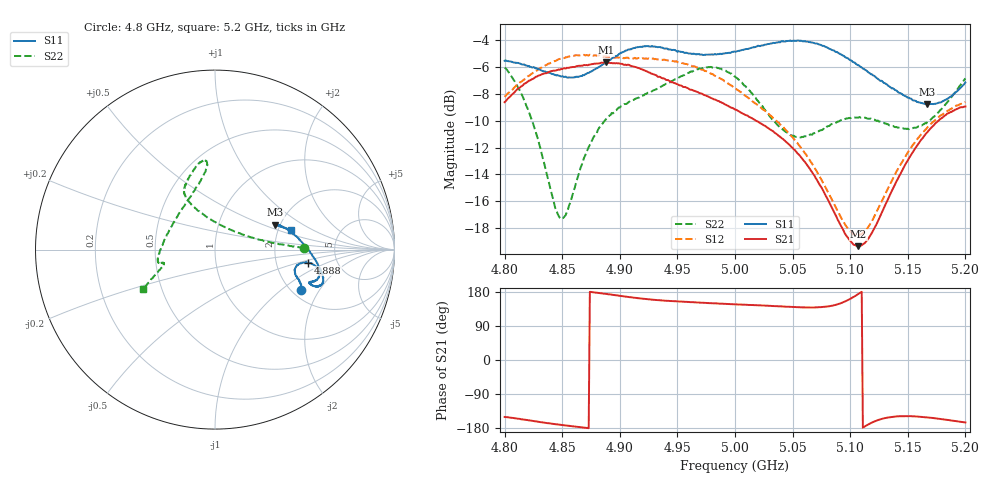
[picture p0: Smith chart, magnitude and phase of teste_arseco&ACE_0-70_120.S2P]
! Network Analyzer HP8722D
! Hewlett-Packard
! Data name: Linha & Wilkinson
! Saver's name: Rodrigo Anjos
! Comments: Teste da utilização de aquisição
! continua pelo VNA HP8722D
! Time and date: 8/5/2025 13:45
!  Frequency  S11  S21  S12  S22
# HZ  S  MA R 50
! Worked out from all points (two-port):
!   401 points, 4.8 GHz to 5.2 GHz, reference 50 ohm
!   highest |S21| = -5.65 dB at 4.888 GHz (marker M1); lowest = -19.3 dB at 5.107 GHz (marker M2)
!   |S21| within 3 dB of the highest: start of sweep to 4.988 GHz
!   lowest |S11| = -8.8 dB at 5.167 GHz (marker M3), VSWR 2.15, Z = 94.4 + j30.3 ohm
!   |S11| at or under -10 dB: nowhere
!   |S22| runs from -17.3 to -6.0 dB; largest |S21 - S12| = 1.1
!   S11 on the Smith chart (normalised r, x): 4.8 GHz: 2.22, -1.40; 4.888 GHz: 3.05, -0.61; 5.2 GHz: 2.35, +0.64
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4.8e9  0.5288 -25.3  0.3708 -150.3  0.3878 9.2  0.4981 1.0
4.821e9  0.5056 -20.7  0.4457 -159.3  0.4646 6.3  0.3409 6.0
4.844e9  0.4675 -16.9  0.4861 -169.4  0.5276 2.7  0.1492 42.0
4.848e9  0.4638 -16.2  0.4897 -170.7  0.5374 1.8  0.1374 58.0
4.855e9  0.4572 -14.5  0.4974 -173.5  0.5477 0.6  0.1478 86.1
4.867e9  0.4639 -11.0  0.507 -177.6  0.5538 -1.1  0.2167 110.6
4.888e9  0.5228 -8.0  0.522 174.3  0.548 -2.2  0.3205 118.9
4.913e9  0.59 -11.6  0.5015 164.3  0.5422 -1.5  0.3808 116.5
4.934e9  0.595 -16.0  0.4613 157.7  0.5359 -2.4  0.4206 111.0
4.975e9  0.5572 -19.3  0.392 150.2  0.4839 -6.2  0.5 97.8
5e9  0.5721 -20.0  0.3482 146.8  0.4197 -6.0  0.462 95.7
5.041e9  0.6243 -18.3  0.2715 141.3  0.3018 1.4  0.2944 127.6
5.054e9  0.6288 -16.3  0.2397 139.4  0.2618 4.6  0.275 146.8
5.067e9  0.6182 -13.8  0.2031 138.5  0.2185 9.0  0.2805 164.8
5.096e9  0.5444 -3.7  0.1191 155.1  0.1289 35.4  0.3217 -171.7
5.107e9  0.5087 1.5  0.1078 174.2  0.1181 56.8  0.3247 -168.2
5.117e9  0.4752 6.7  0.1174 -168.0  0.1295 76.1  0.3218 -166.6
5.134e9  0.4243 14.7  0.1655 -151.0  0.181 94.6  0.3036 -166.0
5.152e9  0.3824 21.0  0.2328 -148.2  0.2478 100.4  0.2956 -164.4
5.167e9  0.3642 22.4  0.2864 -151.4  0.2985 101.3  0.313 -161.5
5.183e9  0.3788 20.3  0.3319 -157.5  0.341 101.3  0.3647 -156.8
5.2e9  0.4387 14.6  0.3572 -164.9  0.3713 101.7  0.4546 -151.2
